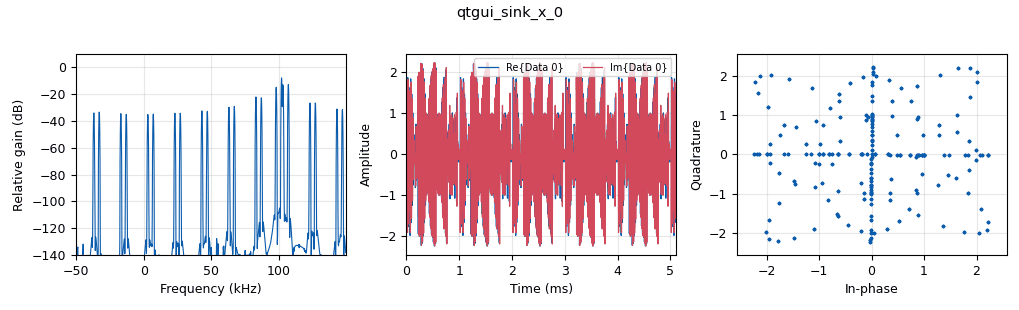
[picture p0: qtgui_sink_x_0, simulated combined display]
options:
  parameters:
    author: blade
    generate_options: qt_gui
    id: untitled2
    output_language: python
    title: Not titled yet
  states: {}

blocks:
- name: samp_rate
  id: variable
  parameters:
    value: '200000'
  states: {}
- name: analog_sig_source_x_0
  id: analog_sig_source_x
  parameters:
    amp: '1'
    freq: '5000'
    offset: '0.5'
    phase: '0'
    samp_rate: samp_rate
    type: complex
    waveform: analog.GR_SQR_WAVE
  states: {}
- name: analog_sig_source_x_1
  id: analog_sig_source_x
  parameters:
    amp: '1'
    freq: '52000'
    offset: '0'
    phase: '0'
    samp_rate: samp_rate
    type: complex
    waveform: analog.GR_COS_WAVE
  states: {}
- name: analog_sig_source_x_2
  id: analog_sig_source_x
  parameters:
    amp: '1'
    freq: '48000'
    offset: '0'
    phase: '0'
    samp_rate: samp_rate
    type: complex
    waveform: analog.GR_COS_WAVE
  states: {}
- name: analog_sig_source_x_3
  id: analog_sig_source_x
  parameters:
    amp: '-1'
    freq: '5000'
    offset: '0.5'
    phase: '0'
    samp_rate: samp_rate
    type: complex
    waveform: analog.GR_SQR_WAVE
  states: {}
- name: blocks_add_xx_0
  id: blocks_add_xx
  parameters:
    type: complex
  states: {}
- name: blocks_multiply_xx_0
  id: blocks_multiply_xx
  parameters:
    type: complex
  states: {}
- name: blocks_multiply_xx_1
  id: blocks_multiply_xx
  parameters:
    type: complex
  states: {}
- name: qtgui_sink_x_0
  id: qtgui_sink_x
  parameters:
    bw: samp_rate
    fc: '50000'
    fftsize: '1024'
    type: complex
  states: {}

connections:
- [analog_sig_source_x_0, '0', blocks_multiply_xx_0, '0']
- [analog_sig_source_x_1, '0', blocks_multiply_xx_0, '1']
- [analog_sig_source_x_2, '0', blocks_multiply_xx_1, '1']
- [analog_sig_source_x_3, '0', blocks_multiply_xx_1, '0']
- [blocks_add_xx_0, '0', qtgui_sink_x_0, '0']
- [blocks_multiply_xx_0, '0', blocks_add_xx_0, '0']
- [blocks_multiply_xx_1, '0', blocks_add_xx_0, '1']

metadata:
  file_format: 1
  grc_version: 3.10.9.2
